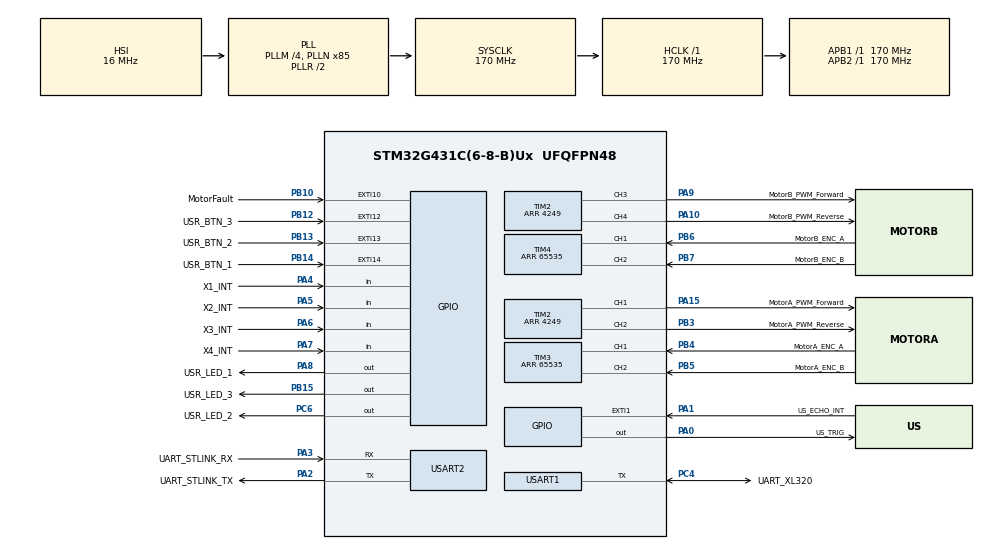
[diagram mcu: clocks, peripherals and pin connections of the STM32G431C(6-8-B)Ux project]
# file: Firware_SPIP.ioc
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Mcu.Family=STM32G4
Mcu.Name=STM32G431C(6-8-B)Ux
Mcu.Package=UFQFPN48
NVIC.EXTI15_10_IRQn=true\:0\:0\:false\:false\:true\:true\:true\:true
NVIC.EXTI1_IRQn=true\:0\:0\:false\:false\:true\:true\:true\:true
NVIC.PriorityGroup=NVIC_PRIORITYGROUP_4
NVIC.TIM6_DAC_IRQn=true\:0\:0\:false\:false\:true\:true\:true\:true
PA0.GPIO_Label=US_TRIG
PA0.Signal=GPIO_Output
PA1.GPIO_Label=US_ECHO_INT
PA1.GPIO_ModeDefaultEXTI=GPIO_MODE_IT_RISING_FALLING
PA1.Signal=GPXTI1
PA10.GPIO_Label=MotorB_PWM_Reverse
PA10.Signal=S_TIM2_CH4
PA13.Mode=Serial_Wire
PA13.Signal=SYS_JTMS-SWDIO
PA14.Mode=Serial_Wire
PA14.Signal=SYS_JTCK-SWCLK
PA15.GPIO_Label=MotorA_PWM_Forward
PA15.Signal=S_TIM2_CH1
PA2.GPIO_Label=UART_STLINK_TX
PA2.Mode=Asynchronous
PA2.Signal=USART2_TX
PA3.GPIO_Label=UART_STLINK_RX
PA3.Mode=Asynchronous
PA3.Signal=USART2_RX
PA4.GPIO_Label=X1_INT
PA4.Signal=GPIO_Input
PA5.GPIO_Label=X2_INT
PA5.Signal=GPIO_Input
PA6.GPIO_Label=X3_INT
PA6.Signal=GPIO_Input
PA7.GPIO_Label=X4_INT
PA7.Signal=GPIO_Input
PA8.GPIO_Label=USR_LED_1
PA8.Signal=GPIO_Output
PA9.GPIO_Label=MotorB_PWM_Forward
PA9.Signal=S_TIM2_CH3
PB10.GPIO_Label=MotorFault
PB10.Signal=GPXTI10
PB12.GPIO_Label=USR_BTN_3
PB12.GPIO_PuPd=GPIO_PULLUP
PB12.Signal=GPXTI12
PB13.GPIO_Label=USR_BTN_2
PB13.GPIO_PuPd=GPIO_PULLUP
PB13.Signal=GPXTI13
PB14.GPIO_Label=USR_BTN_1
PB14.GPIO_PuPd=GPIO_PULLUP
PB14.Signal=GPXTI14
PB15.GPIO_Label=USR_LED_3
PB15.Signal=GPIO_Output
PB3.GPIO_Label=MotorA_PWM_Reverse
PB3.Signal=S_TIM2_CH2
PB4.GPIO_Label=MotorA_ENC_A
PB4.Signal=S_TIM3_CH1
PB5.GPIO_Label=MotorA_ENC_B
PB5.Signal=S_TIM3_CH2
PB6.GPIO_Label=MotorB_ENC_A
PB6.Signal=S_TIM4_CH1
PB7.GPIO_Label=MotorB_ENC_B
PB7.Signal=S_TIM4_CH2
PC4.GPIO_Label=UART_XL320
PC4.Mode=Half_duplex(single_wire_mode)
PC4.Signal=USART1_TX
PC6.GPIO_Label=USR_LED_2
PC6.Signal=GPIO_Output
ProjectManager.HeapSize=0x200
ProjectManager.StackSize=0x400
ProjectManager.TargetToolchain=STM32CubeIDE
RCC.ADC12Freq_Value=170000000
RCC.AHBFreq_Value=170000000
RCC.APB1Freq_Value=170000000
RCC.APB1TimFreq_Value=170000000
RCC.APB2Freq_Value=170000000
RCC.APB2TimFreq_Value=170000000
RCC.CortexFreq_Value=170000000
RCC.EXTERNAL_CLOCK_VALUE=12288000
RCC.HCLKFreq_Value=170000000
RCC.HSE_VALUE=8000000
RCC.HSI48_VALUE=48000000
RCC.HSI_VALUE=16000000
RCC.LSE_VALUE=32768
RCC.PLLM=RCC_PLLM_DIV4
RCC.PLLN=85
RCC.SYSCLKFreq_VALUE=170000000
RCC.SYSCLKSource=RCC_SYSCLKSOURCE_PLLCLK
RCC.USBFreq_Value=170000000
RCC.VCOOutputFreq_Value=340000000
SH.S_TIM2_CH1.0=TIM2_CH1,PWM Generation1 CH1
SH.S_TIM2_CH2.0=TIM2_CH2,PWM Generation2 CH2
SH.S_TIM2_CH3.0=TIM2_CH3,PWM Generation3 CH3
SH.S_TIM2_CH4.0=TIM2_CH4,PWM Generation4 CH4
SH.S_TIM3_CH1.0=TIM3_CH1,Encoder_Interface
SH.S_TIM3_CH2.0=TIM3_CH2,Encoder_Interface
SH.S_TIM4_CH1.0=TIM4_CH1,Encoder_Interface
SH.S_TIM4_CH2.0=TIM4_CH2,Encoder_Interface
TIM1.Prescaler=169
TIM2.Channel-PWM\ Generation1\ CH1=TIM_CHANNEL_1
TIM2.Channel-PWM\ Generation2\ CH2=TIM_CHANNEL_2
TIM2.Channel-PWM\ Generation3\ CH3=TIM_CHANNEL_3
TIM2.Channel-PWM\ Generation4\ CH4=TIM_CHANNEL_4
TIM2.PeriodNoDither=4249
TIM3.EncoderMode=TIM_ENCODERMODE_TI12
TIM3.PeriodNoDither=65535
TIM4.EncoderMode=TIM_ENCODERMODE_TI12
TIM4.PeriodNoDither=65535
TIM6.PeriodNoDither=999
TIM6.Prescaler=169
USART1.VirtualMode-Half_duplex(single_wire_mode)=VM_ASYNC
USART2.VirtualMode-Asynchronous=VM_ASYNC
VP_SYS_VS_DBSignals.Mode=DisableDeadBatterySignals
VP_TIM1_VS_ClockSourceINT.Mode=Internal
VP_TIM6_VS_ClockSourceINT.Mode=Enable_Timer
board=custom

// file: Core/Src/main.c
/* USER CODE BEGIN Header */
/**
 ******************************************************************************
 * @file           : main.c
 * @brief          : Main program body
 ******************************************************************************
 * @attention
 *
 * Copyright (c) 2026 STMicroelectronics.
 * All rights reserved.
 *
 * This software is licensed under terms that can be found in the LICENSE file
 * in the root directory of this software component.
 * If no LICENSE file comes with this software, it is provided AS-IS.
 *
 ******************************************************************************
 */
/* USER CODE END Header */
#include "main.h"
#include "tim.h"
#include "usart.h"
#include "gpio.h"

/* USER CODE BEGIN Includes */
#include <stdio.h>
#include <Ultrasound.h>
#include <Line_Follower.h>
#include <strategy.h>
#include "xl320.h"
/* USER CODE END Includes */

/* USER CODE BEGIN PD */
#define TICKS_TOUR 1430
#define RADIUS 1.5
#define COUNT_TICK 1
#define KP 2.0
#define KI 1.0
#define TRACK_WIDTH 8.4
/* USER CODE END PD */

/* USER CODE BEGIN PV */
US_SENSOR us_sensor;

extern MOTOR motor_left, motor_right;
extern ENCODER encoder_left, encoder_right;
extern CONTROL control_left,control_right;
extern MOVE move;
const char *color;

STATE status;
STATE_TAIL status_tail;

int reset =0;
/* USER CODE END PV */

void SystemClock_Config(void);

/* USER CODE BEGIN 0 */
/*int __io_putchar(int ch)
{
	HAL_UART_Transmit(&huart2, (uint8_t *)&ch, 1, HAL_MAX_DELAY);
	return ch;
}*/
/* USER CODE END 0 */

int main(void)
{

  /* MCU Configuration--------------------------------------------------------*/

  /* Reset of all peripherals, Initializes the Flash interface and the Systick. */
  HAL_Init();

  /* Configure the system clock */
  SystemClock_Config();

  /* Initialize all configured peripherals */
  MX_GPIO_Init();
  MX_USART1_UART_Init();
  MX_TIM4_Init();
  MX_TIM2_Init();
  MX_TIM3_Init();
  MX_USART2_UART_Init();
  MX_TIM6_Init();
  MX_TIM1_Init();
  /* USER CODE BEGIN 2 */

	//Initialisation capteur Ultra Son
	US_Init(&us_sensor,&htim1,US_TRIG_GPIO_Port,US_TRIG_Pin,US_ECHO_INT_GPIO_Port,US_ECHO_INT_Pin);

	//Initialisation Suiveur de ligne
	GPIO_TypeDef* ports[4] = {X1_INT_GPIO_Port, X2_INT_GPIO_Port, X3_INT_GPIO_Port, X4_INT_GPIO_Port};
	uint16_t pins[4] = {X1_INT_Pin, X2_INT_Pin, X3_INT_Pin, X4_INT_Pin};
	LF_Init(&h_lineFollower, ports, pins, 4);

	// Initialisation moteur + encodeur + asservissement + mouvement+xl320
	motor_init(&motor_left, &htim2, TIM_CHANNEL_1, TIM_CHANNEL_2,4142);
	motor_init(&motor_right, &htim2, TIM_CHANNEL_3, TIM_CHANNEL_4,4142);
	encoder_init(&encoder_left, &htim3, TICKS_TOUR,COUNT_TICK);
	encoder_init(&encoder_right, &htim4, TICKS_TOUR,COUNT_TICK);
	move_init(&move,&encoder_left,TRACK_WIDTH,RADIUS);
	control_init(&control_right, KP, KI);
	control_init(&control_left, KP, KI);
	status_init(&status);
	status_tail_init(&status_tail);

	HAL_Delay(2000);
	XL320_Init(&huart1);
	XL320_Config_LowPower(254);
	XL320_SetSpeed(254, 300);

	//Démarrage de l'intéruption TIM 6
	HAL_TIM_Base_Start_IT(&htim6);

	//tirette
	while (us_sensor.distance_cm < 10) {
	    US_Update(&us_sensor);
	    HAL_Delay(50);
	}

  /* USER CODE END 2 */

  /* Infinite loop */
  /* USER CODE BEGIN WHILE */

	while (1)
	{
		strat_two(&status, "yellow");
		move_tail(&status_tail);

    /* USER CODE END WHILE */

	}
}

void SystemClock_Config(void)
{
  RCC_OscInitTypeDef RCC_OscInitStruct = {0};
  RCC_ClkInitTypeDef RCC_ClkInitStruct = {0};

  /** Configure the main internal regulator output voltage
  */
  HAL_PWREx_ControlVoltageScaling(PWR_REGULATOR_VOLTAGE_SCALE1_BOOST);

  /** Initializes the RCC Oscillators according to the specified parameters
  * in the RCC_OscInitTypeDef structure.
  */
  RCC_OscInitStruct.OscillatorType = RCC_OSCILLATORTYPE_HSI;
  RCC_OscInitStruct.HSIState = RCC_HSI_ON;
  RCC_OscInitStruct.HSICalibrationValue = RCC_HSICALIBRATION_DEFAULT;
  RCC_OscInitStruct.PLL.PLLState = RCC_PLL_ON;
  RCC_OscInitStruct.PLL.PLLSource = RCC_PLLSOURCE_HSI;
  RCC_OscInitStruct.PLL.PLLM = RCC_PLLM_DIV4;
  RCC_OscInitStruct.PLL.PLLN = 85;
  RCC_OscInitStruct.PLL.PLLP = RCC_PLLP_DIV2;
  RCC_OscInitStruct.PLL.PLLQ = RCC_PLLQ_DIV2;
  RCC_OscInitStruct.PLL.PLLR = RCC_PLLR_DIV2;
  if (HAL_RCC_OscConfig(&RCC_OscInitStruct) != HAL_OK)
  {
    Error_Handler();
  }

  /** Initializes the CPU, AHB and APB buses clocks
  */
  RCC_ClkInitStruct.ClockType = RCC_CLOCKTYPE_HCLK|RCC_CLOCKTYPE_SYSCLK
                              |RCC_CLOCKTYPE_PCLK1|RCC_CLOCKTYPE_PCLK2;
  RCC_ClkInitStruct.SYSCLKSource = RCC_SYSCLKSOURCE_PLLCLK;
  RCC_ClkInitStruct.AHBCLKDivider = RCC_SYSCLK_DIV1;
  RCC_ClkInitStruct.APB1CLKDivider = RCC_HCLK_DIV1;
  RCC_ClkInitStruct.APB2CLKDivider = RCC_HCLK_DIV1;

  if (HAL_RCC_ClockConfig(&RCC_ClkInitStruct, FLASH_LATENCY_4) != HAL_OK)
  {
    Error_Handler();
  }
}

/* USER CODE BEGIN 4 */
void HAL_GPIO_EXTI_Callback(uint16_t GPIO_Pin) {
    if (GPIO_Pin == us_sensor.ECHO_Pin) {
        if (HAL_GPIO_ReadPin(us_sensor.ECHO_Port, us_sensor.ECHO_Pin) == GPIO_PIN_SET) {
            __HAL_TIM_SET_COUNTER(us_sensor.htim, 0);
            HAL_TIM_Base_Start(us_sensor.htim);
            us_sensor.echo_start = __HAL_TIM_GET_COUNTER(us_sensor.htim);
        } else {
            us_sensor.echo_end = __HAL_TIM_GET_COUNTER(us_sensor.htim);
            HAL_TIM_Base_Stop(us_sensor.htim);

        }
    }
    US_Update(&us_sensor);

}

void HAL_TIM_PeriodElapsedCallback(TIM_HandleTypeDef *htim) {
	if (htim == &htim6) {
		US_Trigger(&us_sensor);
		LF_Update(&h_lineFollower);

		encoder_update(&encoder_left);
	    encoder_update(&encoder_right);
		control_update(&control_left,&motor_left, &encoder_left);
		control_update(&control_right,&motor_right, &encoder_right);
		move_update(&move, &control_left,&control_right, &encoder_left, &encoder_right,&us_sensor, &h_lineFollower);
		if (reset == 40){
			error_reset(&control_left);
			error_reset(&control_right);
			reset = 0;
		}
		reset++;
	}
}
/* USER CODE END 4 */

void Error_Handler(void)
{
	__disable_irq();
	while (1)
	{
	}
}
